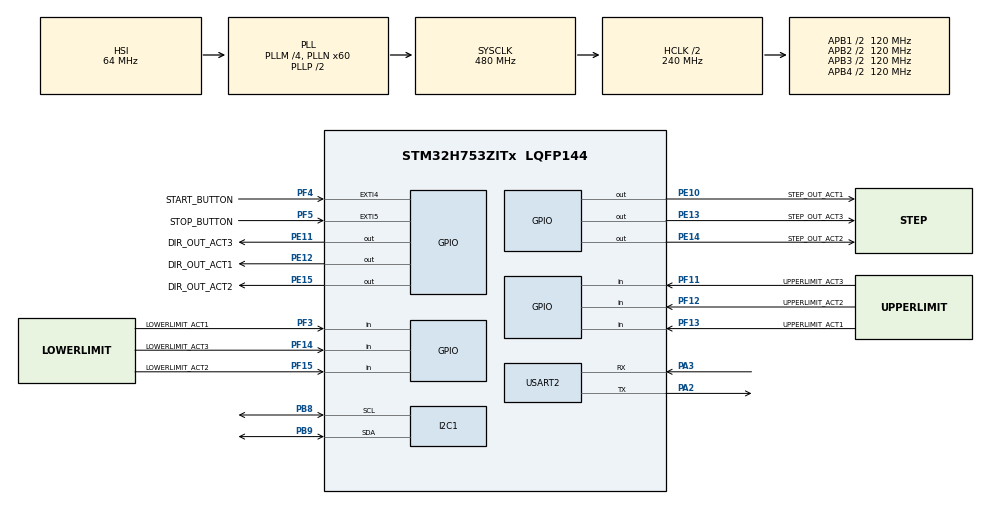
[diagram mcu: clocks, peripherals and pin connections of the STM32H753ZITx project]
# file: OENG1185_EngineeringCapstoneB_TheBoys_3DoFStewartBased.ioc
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CORTEX_M7.CPU_DCache=Disabled
CORTEX_M7.CPU_ICache=Disabled
CORTEX_M7.MPU_Control=MPU_PRIVILEGED_DEFAULT
CORTEX_M7.default_mode_Activation=1
I2C1.Timing=0x307075B1
Mcu.Family=STM32H7
Mcu.Name=STM32H753ZITx
Mcu.Package=LQFP144
NUCLEO-H753ZI.BUTTON=1
NUCLEO-H753ZI.LD1=true
NUCLEO-H753ZI.LD2=true
NUCLEO-H753ZI.LD3=true
NUCLEO-H753ZI.VCP=true
NVIC.EXTI15_10_IRQn=true\:0\:0\:false\:false\:true\:false\:true\:true
NVIC.EXTI4_IRQn=true\:0\:0\:false\:false\:true\:true\:true\:true
NVIC.EXTI9_5_IRQn=true\:0\:0\:false\:false\:true\:true\:true\:true
NVIC.PriorityGroup=NVIC_PRIORITYGROUP_4
PA2.Mode=Asynchronous
PA2.Signal=USART2_TX
PA3.Mode=Asynchronous
PA3.Signal=USART2_RX
PB8.Mode=I2C
PB8.Signal=I2C1_SCL
PB9.Mode=I2C
PB9.Signal=I2C1_SDA
PC14-OSC32_IN\ (OSC32_IN).Signal=RCC_OSC32_IN
PC15-OSC32_OUT\ (OSC32_OUT).Signal=RCC_OSC32_OUT
PD8.Signal=USART3_TX
PD9.Signal=USART3_RX
PE10.GPIO_Label=STEP_OUT_ACT1
PE10.Signal=GPIO_Output
PE11.GPIO_Label=DIR_OUT_ACT3
PE11.Signal=GPIO_Output
PE12.GPIO_Label=DIR_OUT_ACT1
PE12.Signal=GPIO_Output
PE13.GPIO_Label=STEP_OUT_ACT3
PE13.Signal=GPIO_Output
PE14.GPIO_Label=STEP_OUT_ACT2
PE14.Signal=GPIO_Output
PE15.GPIO_Label=DIR_OUT_ACT2
PE15.Signal=GPIO_Output
PF11.GPIO_Label=UPPERLIMIT_ACT3
PF11.GPIO_PuPd=GPIO_PULLDOWN
PF11.Signal=GPIO_Input
PF12.GPIO_Label=UPPERLIMIT_ACT2
PF12.GPIO_PuPd=GPIO_PULLDOWN
PF12.Signal=GPIO_Input
PF13.GPIO_Label=UPPERLIMIT_ACT1
PF13.GPIO_PuPd=GPIO_PULLDOWN
PF13.Signal=GPIO_Input
PF14.GPIO_Label=LOWERLIMIT_ACT3
PF14.GPIO_PuPd=GPIO_PULLDOWN
PF14.Signal=GPIO_Input
PF15.GPIO_Label=LOWERLIMIT_ACT2
PF15.GPIO_PuPd=GPIO_PULLDOWN
PF15.Signal=GPIO_Input
PF3.GPIO_Label=LOWERLIMIT_ACT1
PF3.GPIO_PuPd=GPIO_PULLDOWN
PF3.Signal=GPIO_Input
PF4.GPIO_Label=START_BUTTON
PF4.GPIO_PuPd=GPIO_PULLDOWN
PF4.Signal=GPXTI4
PF5.GPIO_Label=STOP_BUTTON
PF5.GPIO_PuPd=GPIO_PULLDOWN
PF5.Signal=GPXTI5
PH0-OSC_IN\ (PH0).Signal=RCC_OSC_IN
PH1-OSC_OUT\ (PH1).Signal=RCC_OSC_OUT
ProjectManager.HeapSize=0x200
ProjectManager.StackSize=0x400
ProjectManager.TargetToolchain=CMake
RCC.ADCFreq_Value=129000000
RCC.APB1Freq_Value=120000000
RCC.APB2Freq_Value=120000000
RCC.APB3Freq_Value=120000000
RCC.APB4Freq_Value=120000000
RCC.CortexFreq_Value=480000000
RCC.D1PPRE=RCC_APB3_DIV2
RCC.D2PPRE1=RCC_APB1_DIV2
RCC.D2PPRE2=RCC_APB2_DIV2
RCC.D3PPRE=RCC_APB4_DIV2
RCC.DIVM1=4
RCC.DIVN1=60
RCC.DIVQ1=4
RCC.HCLKFreq_Value=240000000
RCC.HPRE=RCC_HCLK_DIV2
RCC.HSE_VALUE=8000000
RCC.PLL2FRACN=0
RCC.PLL3FRACN=0
RCC.PLLFRACN=0
RCC.PWR_Regulator_Voltage_Scale=PWR_REGULATOR_VOLTAGE_SCALE0
RCC.SYSCLKFreq_VALUE=480000000
RCC.SYSCLKSource=RCC_SYSCLKSOURCE_PLLCLK
RCC.USBFreq_Value=240000000
TIM1.Prescaler=240-1
USART2.VirtualMode-Asynchronous=VM_ASYNC
VP_MEMORYMAP_VS_MEMORYMAP.Mode=CurAppReg
VP_NUCLEO-H753ZI_VS_BSP_COMMON.Mode=COMMON
VP_TIM1_VS_ClockSourceINT.Mode=Internal
board=NUCLEO-H753ZI

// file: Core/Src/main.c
/* USER CODE BEGIN Header */
/**
  ******************************************************************************
  * @file           : main.c
  * @brief          : Main program body
  ******************************************************************************
  * @attention
  *
  * Copyright (c) 2026 STMicroelectronics.
  * All rights reserved.
  *
  * This software is licensed under terms that can be found in the LICENSE file
  * in the root directory of this software component.
  * If no LICENSE file comes with this software, it is provided AS-IS.
  *
  ******************************************************************************
  */
/* USER CODE END Header */
#include "main.h"

/* USER CODE BEGIN Includes */
#include "comms.h"
#include "control.h"
#include "drive.h"

/* USER CODE END Includes */

COM_InitTypeDef BspCOMInit;

I2C_HandleTypeDef hi2c1;

TIM_HandleTypeDef htim1;

UART_HandleTypeDef huart2;

void SystemClock_Config(void);
static void MPU_Config(void);
static void MX_GPIO_Init(void);
static void MX_TIM1_Init(void);
static void MX_I2C1_Init(void);
static void MX_USART2_UART_Init(void);

/**
  * @brief  The applAication entry point.
  * @retval int
  */
int main(void)
{

  /* MPU Configuration--------------------------------------------------------*/
  MPU_Config();

  /* MCU Configuration--------------------------------------------------------*/

  /* Reset of all peripherals, Initializes the Flash interface and the Systick. */
  HAL_Init();

  /* Configure the system clock */
  SystemClock_Config();

  /* Initialize all configured peripherals */
  MX_GPIO_Init();
  MX_TIM1_Init();
  MX_I2C1_Init();
  MX_USART2_UART_Init();

  /* Initialize leds */
  BSP_LED_Init(LED_GREEN);
  BSP_LED_Init(LED_YELLOW);
  BSP_LED_Init(LED_RED);

  /* Initialize USER push-button, will be used to trigger an interrupt each time it's pressed.*/
  BSP_PB_Init(BUTTON_USER, BUTTON_MODE_EXTI);

  /* Initialize COM1 port (115200, 8 bits (7-bit data + 1 stop bit), no parity */
  BspCOMInit.BaudRate   = 115200;
  BspCOMInit.WordLength = COM_WORDLENGTH_8B;
  BspCOMInit.StopBits   = COM_STOPBITS_1;
  BspCOMInit.Parity     = COM_PARITY_NONE;
  BspCOMInit.HwFlowCtl  = COM_HWCONTROL_NONE;
  if (BSP_COM_Init(COM1, &BspCOMInit) != BSP_ERROR_NONE)
  {
    Error_Handler();
  }

  /* Infinite loop */
  /* USER CODE BEGIN WHILE */
  HAL_TIM_Base_Start(&htim1); // start the Timer1

  Comms_Init(&hi2c1);

  /*
   * Find the mechanical zero before anything else can command a pose. Runs
   * ahead of Control_Init() because that latches the abort flag.
   */
  if (Drive_Home()) {
    Comms_Print("\r\nHOMING COMPLETE: all actuators at stroke 0.\r\n");
  } else {
    Comms_Print("\r\nHOMING FAILED: lower limit not reached.\r\n");
  }

  /* Start up in IDLE: yellow LED on, nothing reaches the motor drivers. */
  Control_Init();

  while (1)
  {
    /* USER CODE END WHILE */

    /* USER CODE BEGIN 3 */

    //TEST STEPPER MOVE - UNCOMMENT TO TEST
    // GPIO_PinState test_dir[ACTUATOR_COUNT];
    // uint32_t test_steps[ACTUATOR_COUNT] = {200, 200, 200};

    // for (int m = 0; m < ACTUATOR_COUNT; m++) test_dir[m] = GPIO_PIN_SET;
    // Stepper_Move3(Actuators, test_dir, test_steps);
    // HAL_Delay(200);

    // for (int m = 0; m < ACTUATOR_COUNT; m++) test_dir[m] = GPIO_PIN_RESET;
    // Stepper_Move3(Actuators, test_dir, test_steps);
    // HAL_Delay(200);

    Control_Update();

  }
  /* USER CODE END 3 */
}

void SystemClock_Config(void)
{
  RCC_OscInitTypeDef RCC_OscInitStruct = {0};
  RCC_ClkInitTypeDef RCC_ClkInitStruct = {0};

  /** Supply configuration update enable
  */
  HAL_PWREx_ConfigSupply(PWR_LDO_SUPPLY);

  /** Configure the main internal regulator output voltage
  */
  __HAL_PWR_VOLTAGESCALING_CONFIG(PWR_REGULATOR_VOLTAGE_SCALE0);

  while(!__HAL_PWR_GET_FLAG(PWR_FLAG_VOSRDY)) {}

  /** Initializes the RCC Oscillators according to the specified parameters
  * in the RCC_OscInitTypeDef structure.
  */
  RCC_OscInitStruct.OscillatorType = RCC_OSCILLATORTYPE_HSI;
  RCC_OscInitStruct.HSIState = RCC_HSI_DIV1;
  RCC_OscInitStruct.HSICalibrationValue = RCC_HSICALIBRATION_DEFAULT;
  RCC_OscInitStruct.PLL.PLLState = RCC_PLL_ON;
  RCC_OscInitStruct.PLL.PLLSource = RCC_PLLSOURCE_HSI;
  RCC_OscInitStruct.PLL.PLLM = 4;
  RCC_OscInitStruct.PLL.PLLN = 60;
  RCC_OscInitStruct.PLL.PLLP = 2;
  RCC_OscInitStruct.PLL.PLLQ = 4;
  RCC_OscInitStruct.PLL.PLLR = 2;
  RCC_OscInitStruct.PLL.PLLRGE = RCC_PLL1VCIRANGE_3;
  RCC_OscInitStruct.PLL.PLLVCOSEL = RCC_PLL1VCOWIDE;
  RCC_OscInitStruct.PLL.PLLFRACN = 0;
  if (HAL_RCC_OscConfig(&RCC_OscInitStruct) != HAL_OK)
  {
    Error_Handler();
  }

  /** Initializes the CPU, AHB and APB buses clocks
  */
  RCC_ClkInitStruct.ClockType = RCC_CLOCKTYPE_HCLK|RCC_CLOCKTYPE_SYSCLK
                              |RCC_CLOCKTYPE_PCLK1|RCC_CLOCKTYPE_PCLK2
                              |RCC_CLOCKTYPE_D3PCLK1|RCC_CLOCKTYPE_D1PCLK1;
  RCC_ClkInitStruct.SYSCLKSource = RCC_SYSCLKSOURCE_PLLCLK;
  RCC_ClkInitStruct.SYSCLKDivider = RCC_SYSCLK_DIV1;
  RCC_ClkInitStruct.AHBCLKDivider = RCC_HCLK_DIV2;
  RCC_ClkInitStruct.APB3CLKDivider = RCC_APB3_DIV2;
  RCC_ClkInitStruct.APB1CLKDivider = RCC_APB1_DIV2;
  RCC_ClkInitStruct.APB2CLKDivider = RCC_APB2_DIV2;
  RCC_ClkInitStruct.APB4CLKDivider = RCC_APB4_DIV2;

  if (HAL_RCC_ClockConfig(&RCC_ClkInitStruct, FLASH_LATENCY_4) != HAL_OK)
  {
    Error_Handler();
  }
}

static void MX_I2C1_Init(void)
{

  hi2c1.Instance = I2C1;
  hi2c1.Init.Timing = 0x307075B1;
  hi2c1.Init.OwnAddress1 = 0;
  hi2c1.Init.AddressingMode = I2C_ADDRESSINGMODE_7BIT;
  hi2c1.Init.DualAddressMode = I2C_DUALADDRESS_DISABLE;
  hi2c1.Init.OwnAddress2 = 0;
  hi2c1.Init.OwnAddress2Masks = I2C_OA2_NOMASK;
  hi2c1.Init.GeneralCallMode = I2C_GENERALCALL_DISABLE;
  hi2c1.Init.NoStretchMode = I2C_NOSTRETCH_DISABLE;
  if (HAL_I2C_Init(&hi2c1) != HAL_OK)
  {
    Error_Handler();
  }

  /** Configure Analogue filter
  */
  if (HAL_I2CEx_ConfigAnalogFilter(&hi2c1, I2C_ANALOGFILTER_ENABLE) != HAL_OK)
  {
    Error_Handler();
  }

  /** Configure Digital filter
  */
  if (HAL_I2CEx_ConfigDigitalFilter(&hi2c1, 0) != HAL_OK)
  {
    Error_Handler();
  }

}

static void MX_TIM1_Init(void)
{

  TIM_ClockConfigTypeDef sClockSourceConfig = {0};
  TIM_MasterConfigTypeDef sMasterConfig = {0};

  htim1.Instance = TIM1;
  htim1.Init.Prescaler = 240-1;
  htim1.Init.CounterMode = TIM_COUNTERMODE_UP;
  htim1.Init.Period = 65535;
  htim1.Init.ClockDivision = TIM_CLOCKDIVISION_DIV1;
  htim1.Init.RepetitionCounter = 0;
  htim1.Init.AutoReloadPreload = TIM_AUTORELOAD_PRELOAD_DISABLE;
  if (HAL_TIM_Base_Init(&htim1) != HAL_OK)
  {
    Error_Handler();
  }
  sClockSourceConfig.ClockSource = TIM_CLOCKSOURCE_INTERNAL;
  if (HAL_TIM_ConfigClockSource(&htim1, &sClockSourceConfig) != HAL_OK)
  {
    Error_Handler();
  }
  sMasterConfig.MasterOutputTrigger = TIM_TRGO_RESET;
  sMasterConfig.MasterOutputTrigger2 = TIM_TRGO2_RESET;
  sMasterConfig.MasterSlaveMode = TIM_MASTERSLAVEMODE_DISABLE;
  if (HAL_TIMEx_MasterConfigSynchronization(&htim1, &sMasterConfig) != HAL_OK)
  {
    Error_Handler();
  }

}

static void MX_USART2_UART_Init(void)
{

  huart2.Instance = USART2;
  huart2.Init.BaudRate = 115200;
  huart2.Init.WordLength = UART_WORDLENGTH_8B;
  huart2.Init.StopBits = UART_STOPBITS_1;
  huart2.Init.Parity = UART_PARITY_NONE;
  huart2.Init.Mode = UART_MODE_TX_RX;
  huart2.Init.HwFlowCtl = UART_HWCONTROL_NONE;
  huart2.Init.OverSampling = UART_OVERSAMPLING_16;
  huart2.Init.OneBitSampling = UART_ONE_BIT_SAMPLE_DISABLE;
  huart2.Init.ClockPrescaler = UART_PRESCALER_DIV1;
  huart2.AdvancedInit.AdvFeatureInit = UART_ADVFEATURE_NO_INIT;
  if (HAL_UART_Init(&huart2) != HAL_OK)
  {
    Error_Handler();
  }
  if (HAL_UARTEx_SetTxFifoThreshold(&huart2, UART_TXFIFO_THRESHOLD_1_8) != HAL_OK)
  {
    Error_Handler();
  }
  if (HAL_UARTEx_SetRxFifoThreshold(&huart2, UART_RXFIFO_THRESHOLD_1_8) != HAL_OK)
  {
    Error_Handler();
  }
  if (HAL_UARTEx_DisableFifoMode(&huart2) != HAL_OK)
  {
    Error_Handler();
  }

}

static void MX_GPIO_Init(void)
{
  GPIO_InitTypeDef GPIO_InitStruct = {0};

  /* GPIO Ports Clock Enable */
  __HAL_RCC_GPIOC_CLK_ENABLE();
  __HAL_RCC_GPIOF_CLK_ENABLE();
  __HAL_RCC_GPIOH_CLK_ENABLE();
  __HAL_RCC_GPIOA_CLK_ENABLE();
  __HAL_RCC_GPIOE_CLK_ENABLE();
  __HAL_RCC_GPIOB_CLK_ENABLE();

  /*Configure GPIO pin Output Level */
  HAL_GPIO_WritePin(GPIOE, STEP_OUT_ACT1_Pin|DIR_OUT_ACT3_Pin|DIR_OUT_ACT1_Pin|STEP_OUT_ACT3_Pin
                          |STEP_OUT_ACT2_Pin|DIR_OUT_ACT2_Pin, GPIO_PIN_RESET);

  /*Configure GPIO pins : LOWERLIMIT_ACT1_Pin UPPERLIMIT_ACT3_Pin UPPERLIMIT_ACT2_Pin UPPERLIMIT_ACT1_Pin
                           LOWERLIMIT_ACT3_Pin LOWERLIMIT_ACT2_Pin */
  GPIO_InitStruct.Pin = LOWERLIMIT_ACT1_Pin|UPPERLIMIT_ACT3_Pin|UPPERLIMIT_ACT2_Pin|UPPERLIMIT_ACT1_Pin
                          |LOWERLIMIT_ACT3_Pin|LOWERLIMIT_ACT2_Pin;
  GPIO_InitStruct.Mode = GPIO_MODE_INPUT;
  GPIO_InitStruct.Pull = GPIO_PULLDOWN;
  HAL_GPIO_Init(GPIOF, &GPIO_InitStruct);

  /*Configure GPIO pins : START_BUTTON_Pin STOP_BUTTON_Pin */
  GPIO_InitStruct.Pin = START_BUTTON_Pin|STOP_BUTTON_Pin;
  GPIO_InitStruct.Mode = GPIO_MODE_IT_RISING;
  GPIO_InitStruct.Pull = GPIO_PULLDOWN;
  HAL_GPIO_Init(GPIOF, &GPIO_InitStruct);

  /*Configure GPIO pins : STEP_OUT_ACT1_Pin DIR_OUT_ACT3_Pin DIR_OUT_ACT1_Pin STEP_OUT_ACT3_Pin
                           STEP_OUT_ACT2_Pin DIR_OUT_ACT2_Pin */
  GPIO_InitStruct.Pin = STEP_OUT_ACT1_Pin|DIR_OUT_ACT3_Pin|DIR_OUT_ACT1_Pin|STEP_OUT_ACT3_Pin
                          |STEP_OUT_ACT2_Pin|DIR_OUT_ACT2_Pin;
  GPIO_InitStruct.Mode = GPIO_MODE_OUTPUT_PP;
  GPIO_InitStruct.Pull = GPIO_NOPULL;
  GPIO_InitStruct.Speed = GPIO_SPEED_FREQ_LOW;
  HAL_GPIO_Init(GPIOE, &GPIO_InitStruct);

  /* EXTI interrupt init*/
  HAL_NVIC_SetPriority(START_BUTTON_EXTI_IRQn, 0, 0);
  HAL_NVIC_EnableIRQ(START_BUTTON_EXTI_IRQn);

  HAL_NVIC_SetPriority(STOP_BUTTON_EXTI_IRQn, 0, 0);
  HAL_NVIC_EnableIRQ(STOP_BUTTON_EXTI_IRQn);

}

/* USER CODE BEGIN 4 */

/**
  * @brief  START / STOP push-button interrupt handler.
  *
  * Only raises a request flag; the state change, the LEDs and the PuTTY
  * messages are handled by Control_Update() in the main loop.
  */
void HAL_GPIO_EXTI_Callback(uint16_t GPIO_Pin)
{
  if (GPIO_Pin == START_BUTTON_Pin)
  {
    Control_StartRequest();
  }
  else if (GPIO_Pin == STOP_BUTTON_Pin)
  {
    Control_StopRequest();
  }
}

/* USER CODE END 4 */

 /* MPU Configuration */

void MPU_Config(void)
{
  MPU_Region_InitTypeDef MPU_InitStruct = {0};

  /* Disables the MPU */
  HAL_MPU_Disable();

  /** Initializes and configures the Region and the memory to be protected
  */
  MPU_InitStruct.Enable = MPU_REGION_ENABLE;
  MPU_InitStruct.Number = MPU_REGION_NUMBER0;
  MPU_InitStruct.BaseAddress = 0x0;
  MPU_InitStruct.Size = MPU_REGION_SIZE_4GB;
  MPU_InitStruct.SubRegionDisable = 0x87;
  MPU_InitStruct.TypeExtField = MPU_TEX_LEVEL0;
  MPU_InitStruct.AccessPermission = MPU_REGION_NO_ACCESS;
  MPU_InitStruct.DisableExec = MPU_INSTRUCTION_ACCESS_DISABLE;
  MPU_InitStruct.IsShareable = MPU_ACCESS_SHAREABLE;
  MPU_InitStruct.IsCacheable = MPU_ACCESS_NOT_CACHEABLE;
  MPU_InitStruct.IsBufferable = MPU_ACCESS_NOT_BUFFERABLE;

  HAL_MPU_ConfigRegion(&MPU_InitStruct);
  /* Enables the MPU */
  HAL_MPU_Enable(MPU_PRIVILEGED_DEFAULT);

}

void Error_Handler(void)
{
  __disable_irq();
  while (1)
  {
  }
}
